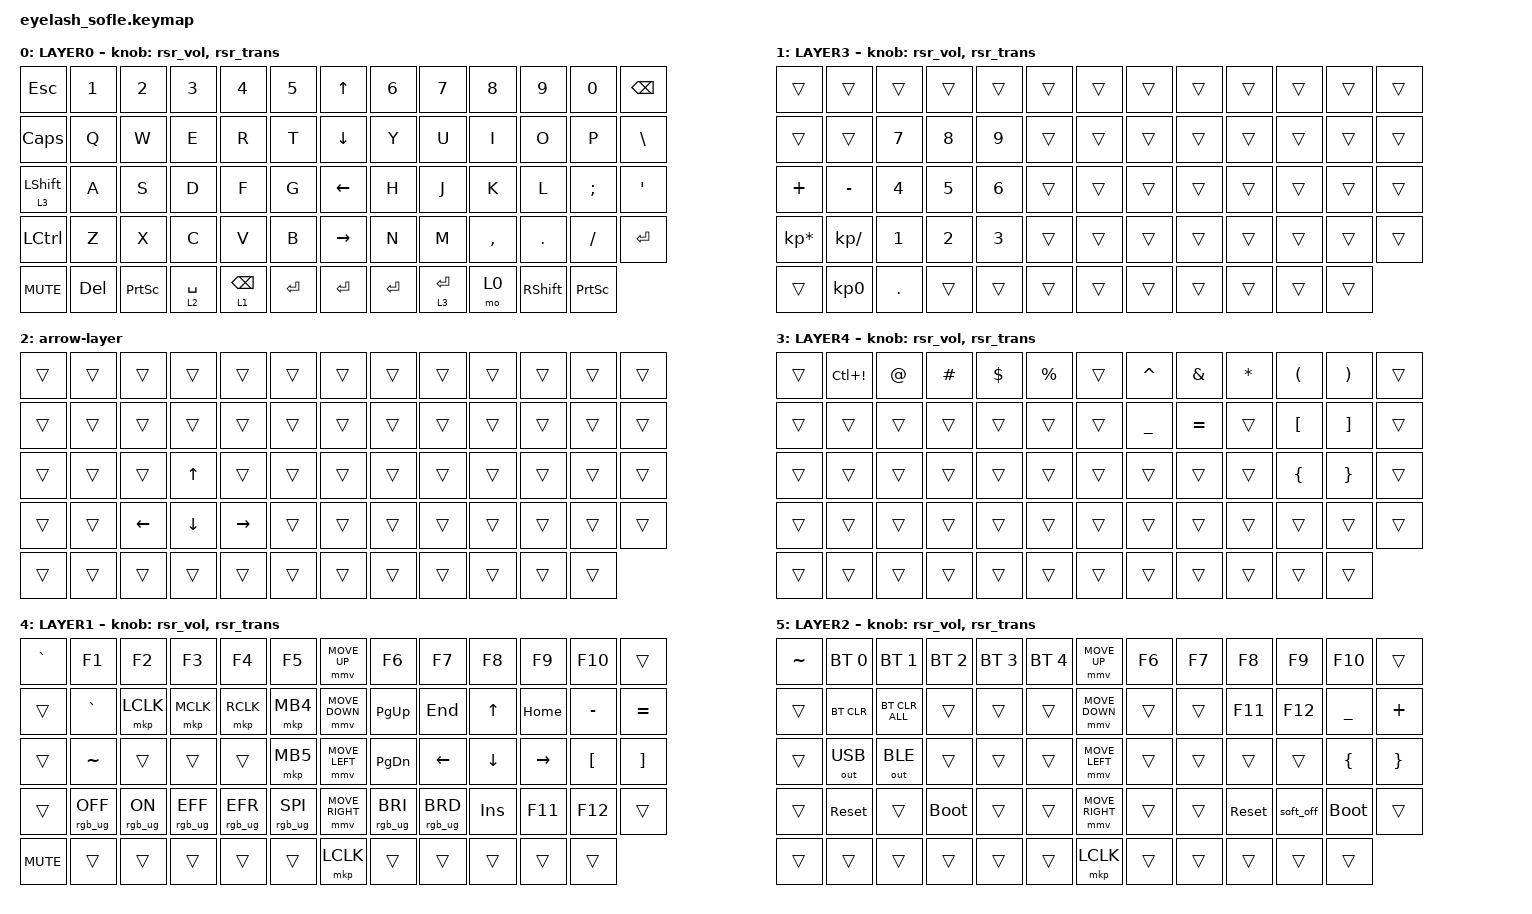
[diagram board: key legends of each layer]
#define ZMK_POINTING_DEFAULT_MOVE_VAL 1200  // 600
#define ZMK_POINTING_DEFAULT_SCRL_VAL 25   // 10

#include <input/processors.dtsi>
#include <zephyr/dt-bindings/input/input-event-codes.h>
#include <behaviors/runtime-sensor-rotate.dtsi>
#include <behaviors.dtsi>
#include <dt-bindings/zmk/bt.h>
#include <dt-bindings/zmk/keys.h>
#include <dt-bindings/zmk/outputs.h>
#include <dt-bindings/zmk/pointing.h>
#include <dt-bindings/zmk/rgb.h>

&mmv_input_listener { input-processors = <&zip_xy_scaler 2 1>; };

&msc_input_listener { input-processors = <&zip_scroll_scaler 2 1>; };

&msc {
    acceleration-exponent = <1>;      // 0
    time-to-max-speed-ms = <100>;       // 300
    delay-ms = <0>;                   // 0
};

&mmv {
    time-to-max-speed-ms = <500>;
    acceleration-exponent = <1>;
    trigger-period-ms = <16>;
};

&soft_off { hold-time-ms = <2000>; };

/ {
    scroll_encoder: scroll_encoder {
        compatible = "zmk,behavior-sensor-rotate";
        #sensor-binding-cells = <0>;
        bindings = <&msc SCRL_DOWN>, <&msc SCRL_UP>;

        tap-ms = <100>;
    };

    behaviors {
        rsr_vol: rsr_vol {
            compatible = "zmk,behavior-runtime-sensor-rotate";
            #sensor-binding-cells = <0>;
            tap-ms = <5>;
            cw-binding = <&kp C_VOL_UP>;
            ccw-binding = <&kp C_VOL_DN>;
        };

        rsr_trans: rsr_trans {
            compatible = "zmk,behavior-runtime-sensor-rotate";
            #sensor-binding-cells = <0>;
            tap-ms = <0>;
        };
    };

    combos {
        compatible = "zmk,combos";

        softoff {
            bindings = <&soft_off>;
            key-positions = <14 28 40>;
        };
    };

    macros {
        SHIFT_MCLK: SHIFT_MCLK {
            compatible = "zmk,behavior-macro";
            #binding-cells = <0>;
            bindings =
                <&macro_press>,
                <&kp LEFT_SHIFT>,
                <&macro_press>,
                <&mkp MB3>,
                <&macro_pause_for_release>,
                <&macro_release>,
                <&kp LEFT_SHIFT &mkp MB3>;

            label = "SHIFT_MCLK";
        };
    };

    keymap {
        compatible = "zmk,keymap";

        layer0 {
            bindings = <
&kp ESC           &kp N1      &kp N2           &kp N3       &kp N4           &kp N5       &kp UP_ARROW     &kp N6     &kp N7       &kp N8     &kp N9           &kp N0           &kp BACKSPACE
&kp CAPS          &kp Q       &kp W            &kp E        &kp R            &kp T        &kp DOWN_ARROW   &kp Y      &kp U        &kp I      &kp O            &kp P            &kp BSLH
&lt 3 LEFT_SHIFT  &kp A       &kp S            &kp D        &kp F            &kp G        &kp LEFT_ARROW   &kp H      &kp J        &kp K      &kp L            &kp SEMI         &kp APOS
&kp LCTRL         &kp Z       &kp X            &kp C        &kp V            &kp B        &kp RIGHT_ARROW  &kp N      &kp M        &kp COMMA  &kp DOT          &kp FSLH         &kp ENTER
&kp C_MUTE        &kp DELETE  &kp PRINTSCREEN  &lt 2 SPACE  &lt 1 BACKSPACE  &kp ENTER    &kp ENTER        &kp ENTER  &lt 3 ENTER  &mo 0      &kp RIGHT_SHIFT  &kp PRINTSCREEN
            >;

            sensor-bindings = <&rsr_vol &rsr_trans>;
            display-name = "LAYER0";
        };

        number-layer {
            bindings = <
&trans           &trans           &trans        &trans        &trans        &trans    &trans  &trans  &trans  &trans  &trans  &trans  &trans
&trans           &trans           &kp NUMBER_7  &kp NUMBER_8  &kp NUMBER_9  &trans    &trans  &trans  &trans  &trans  &trans  &trans  &trans
&kp PLUS         &kp MINUS        &kp NUMBER_4  &kp N5        &kp NUMBER_6  &trans    &trans  &trans  &trans  &trans  &trans  &trans  &trans
&kp KP_MULTIPLY  &kp KP_DIVIDE    &kp NUMBER_1  &kp NUMBER_2  &kp NUMBER_3  &trans    &trans  &trans  &trans  &trans  &trans  &trans  &trans
&trans           &kp KP_NUMBER_0  &kp PERIOD    &trans        &trans        &trans    &trans  &trans  &trans  &trans  &trans  &trans
            >;

            display-name = "LAYER3";
            sensor-bindings = <&rsr_vol &rsr_trans>;
        };

        arrow-layer {
            bindings = <
&trans  &trans  &trans    &trans          &trans     &trans    &trans  &trans  &trans  &trans  &trans  &trans  &trans
&trans  &trans  &trans    &trans          &trans     &trans    &trans  &trans  &trans  &trans  &trans  &trans  &trans
&trans  &trans  &trans    &kp UP_ARROW    &trans     &trans    &trans  &trans  &trans  &trans  &trans  &trans  &trans
&trans  &trans  &kp LEFT  &kp DOWN_ARROW  &kp RIGHT  &trans    &trans  &trans  &trans  &trans  &trans  &trans  &trans
&trans  &trans  &trans    &trans          &trans     &trans    &trans  &trans  &trans  &trans  &trans  &trans
            >;
        };

        symbol-layer {
            bindings = <
&trans  &kp LC(EXCLAMATION)  &kp AT_SIGN  &kp HASH  &kp DOLLAR  &kp PERCENT    &trans  &kp CARET       &kp AMPERSAND  &kp ASTERISK  &kp LEFT_PARENTHESIS  &kp RIGHT_PARENTHESIS  &trans
&trans  &trans               &trans       &trans    &trans      &trans         &trans  &kp UNDERSCORE  &kp EQUAL      &trans        &kp LEFT_BRACKET      &kp RIGHT_BRACKET      &trans
&trans  &trans               &trans       &trans    &trans      &trans         &trans  &trans          &trans         &trans        &kp LEFT_BRACE        &kp RIGHT_BRACE        &trans
&trans  &trans               &trans       &trans    &trans      &trans         &trans  &trans          &trans         &trans        &trans                &trans                 &trans
&trans  &trans               &trans       &trans    &trans      &trans         &trans  &trans          &trans         &trans        &trans                &trans
            >;

            display-name = "LAYER4";
            sensor-bindings = <&rsr_vol &rsr_trans>;
        };

        layer_1 {
            bindings = <
&kp GRAVE   &kp F1           &kp F2          &kp F3           &kp F4           &kp F5             &mmv MOVE_UP     &kp F6           &kp F7           &kp F8      &kp F9     &kp F10           &trans
&trans      &kp GRAVE        &mkp LCLK       &mkp MCLK        &mkp RCLK        &mkp MB4           &mmv MOVE_DOWN   &kp PG_UP        &kp END          &kp UP      &kp HOME   &kp MINUS         &kp EQUAL
&trans      &kp TILDE        &trans          &trans           &trans           &mkp MB5           &mmv MOVE_LEFT   &kp PG_DN        &kp LEFT         &kp DOWN    &kp RIGHT  &kp LEFT_BRACKET  &kp RIGHT_BRACKET
&trans      &rgb_ug RGB_OFF  &rgb_ug RGB_ON  &rgb_ug RGB_EFF  &rgb_ug RGB_EFR  &rgb_ug RGB_SPI    &mmv MOVE_RIGHT  &rgb_ug RGB_BRI  &rgb_ug RGB_BRD  &kp INSERT  &kp F11    &kp F12           &trans
&kp C_MUTE  &trans           &trans          &trans           &trans           &trans             &mkp LCLK        &trans           &trans           &trans      &trans     &trans
            >;

            sensor-bindings = <&rsr_vol &rsr_trans>;
            display-name = "LAYER1";
        };

        layer_2 {
            bindings = <
&kp TILDE  &bt BT_SEL 0  &bt BT_SEL 1    &bt BT_SEL 2  &bt BT_SEL 3  &bt BT_SEL 4    &mmv MOVE_UP     &kp F6  &kp F7  &kp F8      &kp F9     &kp F10      &trans
&trans     &bt BT_CLR    &bt BT_CLR_ALL  &trans        &trans        &trans          &mmv MOVE_DOWN   &trans  &trans  &kp F11     &kp F12    &kp UNDER    &kp PLUS
&trans     &out OUT_USB  &out OUT_BLE    &trans        &trans        &trans          &mmv MOVE_LEFT   &trans  &trans  &trans      &trans     &kp LBRC     &kp RBRC
&trans     &sys_reset    &trans          &bootloader   &trans        &trans          &mmv MOVE_RIGHT  &trans  &trans  &sys_reset  &soft_off  &bootloader  &trans
&trans     &trans        &trans          &trans        &trans        &trans          &mkp LCLK        &trans  &trans  &trans      &trans     &trans
            >;

            display-name = "LAYER2";
            sensor-bindings = <&rsr_vol &rsr_trans>;
        };
    };
};
